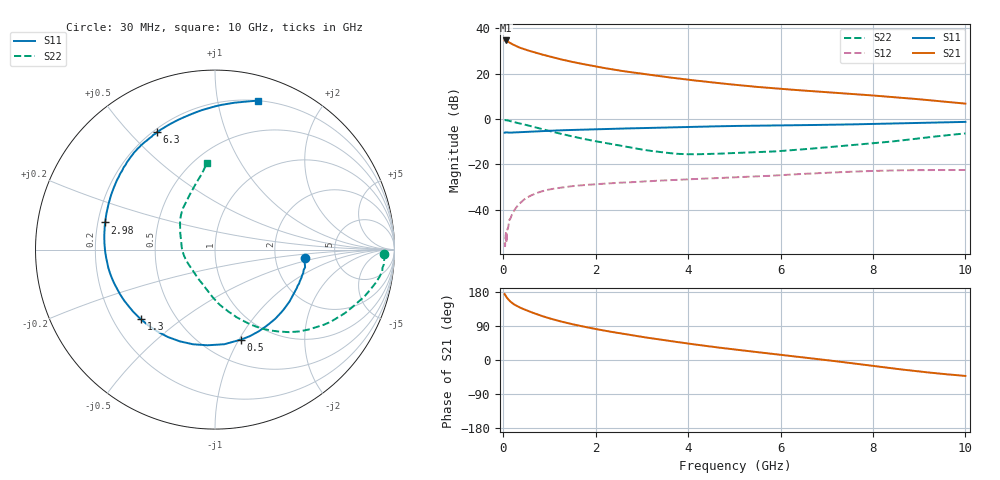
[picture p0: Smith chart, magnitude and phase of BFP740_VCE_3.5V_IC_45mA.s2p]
! Infineon Technologies  Discrete & RF Semiconductors
! BFP740
! VCE =  3.5 V,  IC =  45 mA
! Common Emitter S-Parameters:  Jan 2016
# GHz  S  MA  R  50
!  f  S11  S21  S12  S22
! GHz  MAG  ANG  MAG  ANG  MAG  ANG  MAG  ANG
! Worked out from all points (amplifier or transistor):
!   229 points, 30 MHz to 10 GHz, reference 50 ohm
!   highest |S21| = 34.5 dB at 50 MHz (marker M1)
!   |S21| within 3 dB of that: start of sweep to 338.1 MHz
!   unconditionally stable (mu >= 1): 5.401 GHz to 7.927 GHz
!   at 280 MHz: K = 0.38, MSG = 35.5 dB, |S12| = -38.9 dB
!   at 1.78 GHz: K = 0.58, MSG = 26.5 dB, |S12| = -29.0 dB
!   at 10 GHz: K = 0.97, MSG = 14.6 dB, |S12| = -22.4 dB
!   S11 on the Smith chart (normalised r, x): 30 MHz: 2.96, -0.37; 500 MHz: 0.74, -1.02; 1.3 GHz: 0.32, -0.36; 2.98 GHz: 0.23, +0.12; 6.3 GHz: 0.21, +0.60; 10 GHz: 0.20, +1.31
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0.03  0.5011 -5.4  53.2 174.0  0.0019 78.2  0.9423 -1.4
0.05  0.5076 -9.4  53.39 170.3  0.0027 59.9  0.9444 -4.2
0.08  0.5085 -14.8  52.09 164.4  0.0034 81.0  0.9392 -7.3
0.11  0.5043 -20.4  49.81 159.7  0.0043 80.6  0.9232 -10.4
0.15  0.5027 -27.1  47.06 154.7  0.0063 74.3  0.8988 -13.8
0.2  0.5061 -34.8  44.06 149.5  0.0083 73.0  0.8728 -17.4
0.26  0.5086 -43.4  41.13 144.9  0.0106 71.9  0.8421 -21.1
0.34  0.5122 -54.4  37.72 139.8  0.0134 68.3  0.8069 -25.9
0.5  0.5219 -73.8  33.04 131.3  0.0184 61.5  0.737 -34.6
0.7  0.5347 -94.4  28.67 121.9  0.023 53.6  0.6562 -44.0
0.88  0.5455 -109.5  25.59 114.5  0.0264 48.5  0.587 -51.2
1.1  0.5578 -125.1  22.36 106.5  0.0295 43.4  0.5143 -59.0
1.3  0.5667 -136.7  19.94 100.1  0.0316 39.6  0.4597 -64.8
1.7  0.585 -155.1  16.35 89.1  0.0347 34.5  0.3731 -74.7
2.3  0.6082 -175.8  12.68 75.1  0.0385 29.8  0.2858 -88.8
2.98  0.6304 166.1  9.944 61.5  0.0419 26.3  0.2151 -105.6
3.4  0.6457 156.6  8.72 53.8  0.0442 24.6  0.1878 -119.2
5.1  0.7058 128.6  5.55 26.4  0.0526 18.4  0.1804 -176.1
6.3  0.7294 116.4  4.373 9.7  0.0607 14.1  0.2079 157.5
6.8  0.7408 110.7  4.022 2.6  0.0642 11.0  0.229 148.1
8.4  0.798 90.0  3.059 -21.7  0.0739 -1.1  0.3197 118.9
10  0.8646 73.8  2.182 -42.1  0.0756 -12.1  0.4822 95.4
